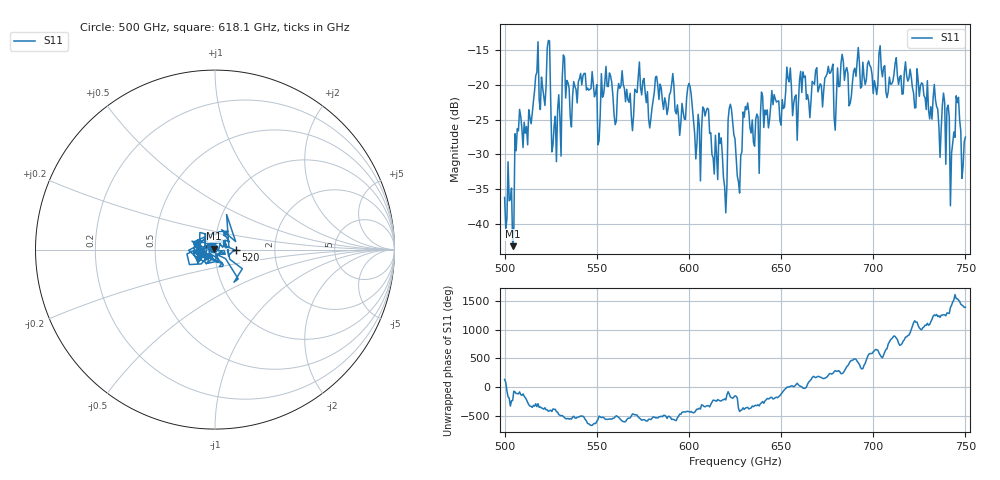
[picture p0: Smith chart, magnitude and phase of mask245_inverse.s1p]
!Created with skrf (http://scikit-rf.org).
# GHz S MA R 50.0
!freq magS11 angS11
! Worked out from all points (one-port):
!   401 points, 500 GHz to 750 GHz, reference 50 ohm
!   lowest |S11| = -43.2 dB at 504.4 GHz (marker M1), VSWR 1.01, Z = 49.6 + j0.55 ohm
!   |S11| at or under -10 dB: start of sweep to end of sweep
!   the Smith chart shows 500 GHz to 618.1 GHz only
!   S11 on the Smith chart (normalised r, x): 500 GHz: 0.98, +0.02; 520 GHz: 1.26, -0.01; 618.1 GHz: 0.95, +0.04
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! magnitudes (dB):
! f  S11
! 500 GHz  -36.2
! 504.4 GHz  -43.2
! 506.9 GHz  -26.3
! 520 GHz  -18.8
! 523.8 GHz  -13.6
! 526.9 GHz  -25.9
! 531.2 GHz  -19.1
! 542.5 GHz  -18.7
! 550.6 GHz  -28.6
! 562.5 GHz  -20.5
! 579.4 GHz  -24.8
! 590.6 GHz  -19.9
! 593.8 GHz  -22.8
! 600 GHz  -19.7
! 605 GHz  -24.2
! 609.4 GHz  -23.7
! 618.1 GHz  -30.0
! 619.4 GHz  -34.6
! 622.5 GHz  -22.8
! 625 GHz  -27.8
! 626.9 GHz  -33.9
! 630.6 GHz  -23.1
! 636.9 GHz  -24.2
! 656.2 GHz  -24.4
! 687.5 GHz  -22.6
! 691.2 GHz  -16.6
! 718.8 GHz  -19.4
! 750 GHz  -27.5
